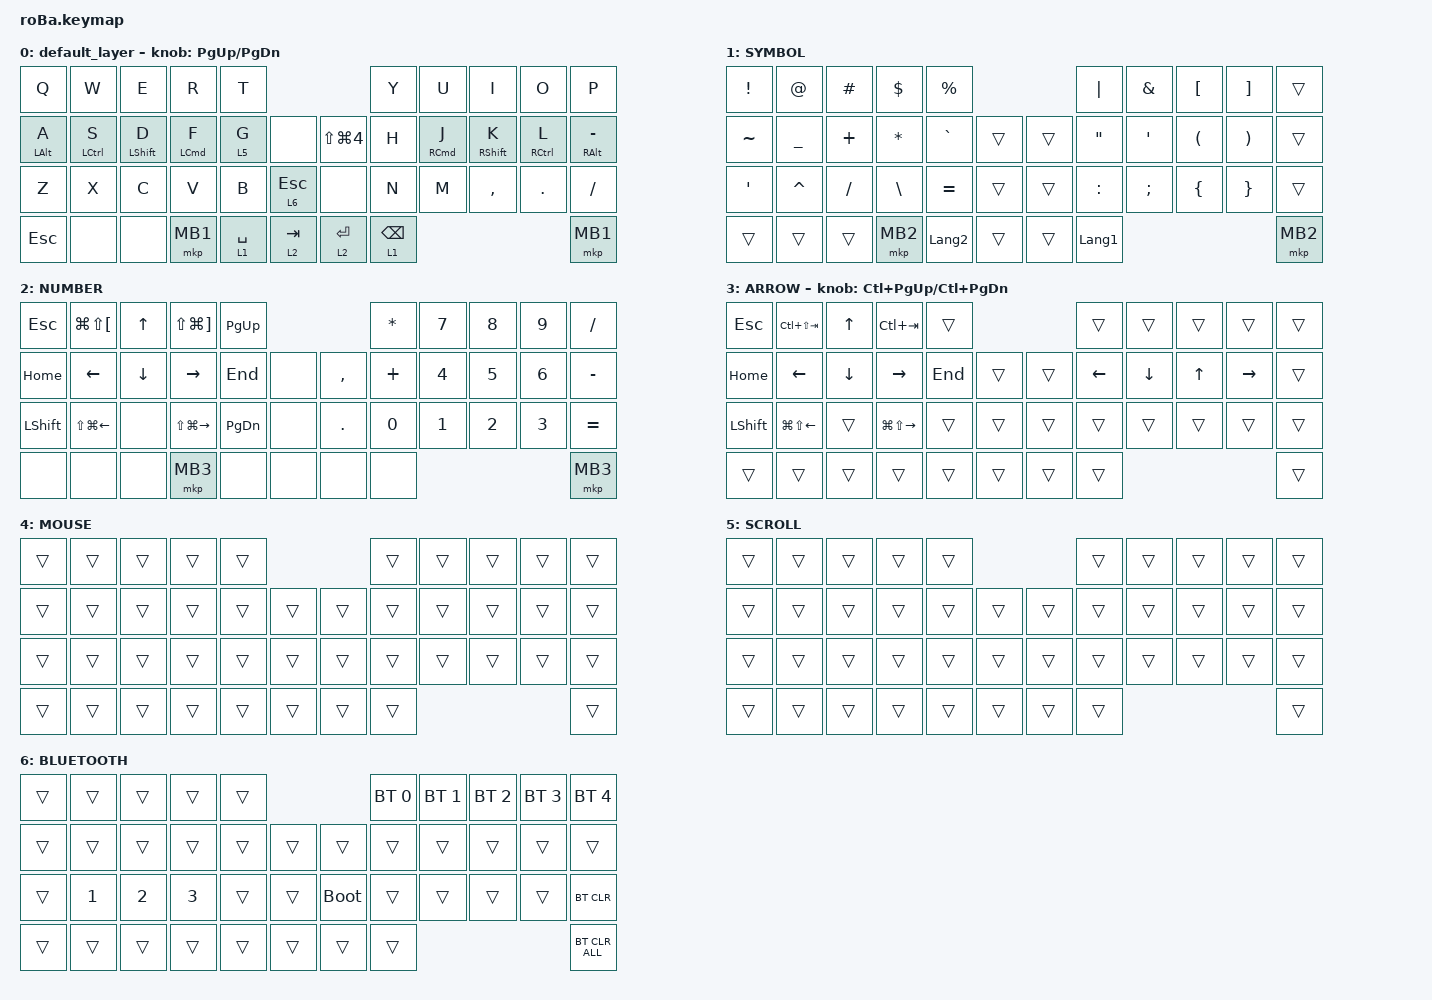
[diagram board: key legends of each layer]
#include <behaviors.dtsi>
#include <dt-bindings/zmk/bt.h>
#include <dt-bindings/zmk/keys.h>
#include <dt-bindings/zmk/pointing.h>

&mt {
    flavor = "balanced";
    quick-tap-ms = <0>;
};

&trackball {
    // automouse-layer = <4>;

    scroll-layers = <5>;

    // arrows {
    //     layers = <3>;
    //     bindings =
    //         <&kp RIGHT_ARROW>,
    //         <&kp LEFT_ARROW>,
    //         <&kp UP_ARROW>,
    //         <&kp DOWN_ARROW>;
    //     tick = <10>;
    //     wait-ms = <5>;
    //     tap-ms = <5>;
    // };
};

/ {
    combos { compatible = "zmk,combos"; };

    macros {
        to_layer_0: to_layer_0 {
            compatible = "zmk,behavior-macro-one-param";
            #binding-cells = <1>;
            bindings = <&to 0 &macro_param_1to1 &kp MACRO_PLACEHOLDER>;
            label = "TO_LAYER_0";
        };
    };

    behaviors {
        lt_to_layer_0: lt_to_layer_0 {
            compatible = "zmk,behavior-hold-tap";
            label = "LAYER_TAP_TO_0";
            bindings = <&mo>, <&to_layer_0>;

            #binding-cells = <2>;
            tapping-term-ms = <200>;
        };
    };

    keymap {
        compatible = "zmk,keymap";

        default_layer {
            bindings = <
&kp Q           &kp W        &kp E             &kp R               &kp T                                                &kp Y            &kp U                &kp I              &kp O        &kp P
&mt LEFT_ALT A  &mt LCTRL S  &mt LEFT_SHIFT D  &mt LEFT_COMMAND F  &lt 5 G      &none             &kp LS(LG(NUMBER_4))  &kp H            &mt RIGHT_COMMAND J  &mt RIGHT_SHIFT K  &mt RCTRL L  &mt RIGHT_ALT MINUS
&kp Z           &kp X        &kp C             &kp V               &kp B        &lt 6 ESCAPE      &none                 &kp N            &kp M                &kp COMMA          &kp DOT      &kp SLASH
&kp ESCAPE      &none        &none             &mkp MB1            &lt 1 SPACE  &lt 2 TAB         &lt 2 ENTER           &lt 1 BACKSPACE                                                       &mkp MB1
            >;

            sensor-bindings = <&inc_dec_kp PAGE_UP PAGE_DOWN>;
        };

        SYMBOL {
            bindings = <
&kp EXCL        &kp AT          &kp HASH   &kp DOLLAR     &kp PERCENT                         &kp PIPE           &kp AMPS          &kp LEFT_BRACKET      &kp RIGHT_BRACKET      &trans
&kp TILDE       &kp UNDERSCORE  &kp PLUS   &kp ASTERISK   &kp GRAVE       &trans      &trans  &kp DOUBLE_QUOTES  &kp SINGLE_QUOTE  &kp LEFT_PARENTHESIS  &kp RIGHT_PARENTHESIS  &trans
&kp APOSTROPHE  &kp CARET       &kp SLASH  &kp BACKSLASH  &kp EQUAL       &trans      &trans  &kp COLON          &kp SEMI          &kp LEFT_BRACE        &kp RIGHT_BRACE        &trans
&trans          &trans          &trans     &mkp MB2       &kp LANGUAGE_2  &trans      &trans  &kp LANGUAGE_1                                                                    &mkp MB2
            >;
        };

        NUMBER {
            bindings = <
&kp ESCAPE      &kp LG(LS(LEFT_BRACKET))  &kp UP_ARROW  &kp LS(LG(RIGHT_BRACKET))  &kp PAGE_UP                           &kp ASTERISK  &kp N7  &kp N8  &kp N9  &kp FSLH
&kp HOME        &kp LEFT                  &kp DOWN      &kp RIGHT                  &kp END        &none      &kp COMMA   &kp PLUS      &kp N4  &kp N5  &kp N6  &kp MINUS
&kp LEFT_SHIFT  &kp LS(LG(LEFT))          &none         &kp LS(LG(RIGHT))          &kp PAGE_DOWN  &none      &kp PERIOD  &kp N0        &kp N1  &kp N2  &kp N3  &kp EQUAL
&none           &none                     &none         &mkp MB3                   &none          &none      &none       &none                                 &mkp MB3
            >;
        };

        ARROW {
            bindings = <
&kp ESCAPE      &kp LC(LS(TAB))         &kp UP_ARROW    &kp LC(TAB)              &trans                       &trans    &trans    &trans        &trans     &trans
&kp HOME        &kp LEFT_ARROW          &kp DOWN_ARROW  &kp RIGHT_ARROW          &kp END  &trans      &trans  &kp LEFT  &kp DOWN  &kp UP_ARROW  &kp RIGHT  &trans
&kp LEFT_SHIFT  &kp LG(LS(LEFT_ARROW))  &trans          &kp LG(LS(RIGHT_ARROW))  &trans   &trans      &trans  &trans    &trans    &trans        &trans     &trans
&trans          &trans                  &trans          &trans                   &trans   &trans      &trans  &trans                                       &trans
            >;

            sensor-bindings = <&inc_dec_kp LC(PAGE_UP) LC(PAGE_DOWN)>;
        };

        MOUSE {
            bindings = <
&trans  &trans  &trans  &trans  &trans                      &trans  &trans  &trans  &trans  &trans
&trans  &trans  &trans  &trans  &trans  &trans      &trans  &trans  &trans  &trans  &trans  &trans
&trans  &trans  &trans  &trans  &trans  &trans      &trans  &trans  &trans  &trans  &trans  &trans
&trans  &trans  &trans  &trans  &trans  &trans      &trans  &trans                          &trans
            >;
        };

        SCROLL {
            bindings = <
&trans  &trans  &trans  &trans  &trans                      &trans  &trans  &trans  &trans  &trans
&trans  &trans  &trans  &trans  &trans  &trans      &trans  &trans  &trans  &trans  &trans  &trans
&trans  &trans  &trans  &trans  &trans  &trans      &trans  &trans  &trans  &trans  &trans  &trans
&trans  &trans  &trans  &trans  &trans  &trans      &trans  &trans                          &trans
            >;
        };

        BLUETOOTH {
            bindings = <
&trans  &trans        &trans        &trans        &trans                           &bt BT_SEL 0  &bt BT_SEL 1  &bt BT_SEL 2  &bt BT_SEL 3  &bt BT_SEL 4
&trans  &trans        &trans        &trans        &trans  &trans      &trans       &trans        &trans        &trans        &trans        &trans
&trans  &kp NUMBER_1  &kp NUMBER_2  &kp NUMBER_3  &trans  &trans      &bootloader  &trans        &trans        &trans        &trans        &bt BT_CLR
&trans  &trans        &trans        &trans        &trans  &trans      &trans       &trans                                                  &bt BT_CLR_ALL
            >;
        };
    };
};
